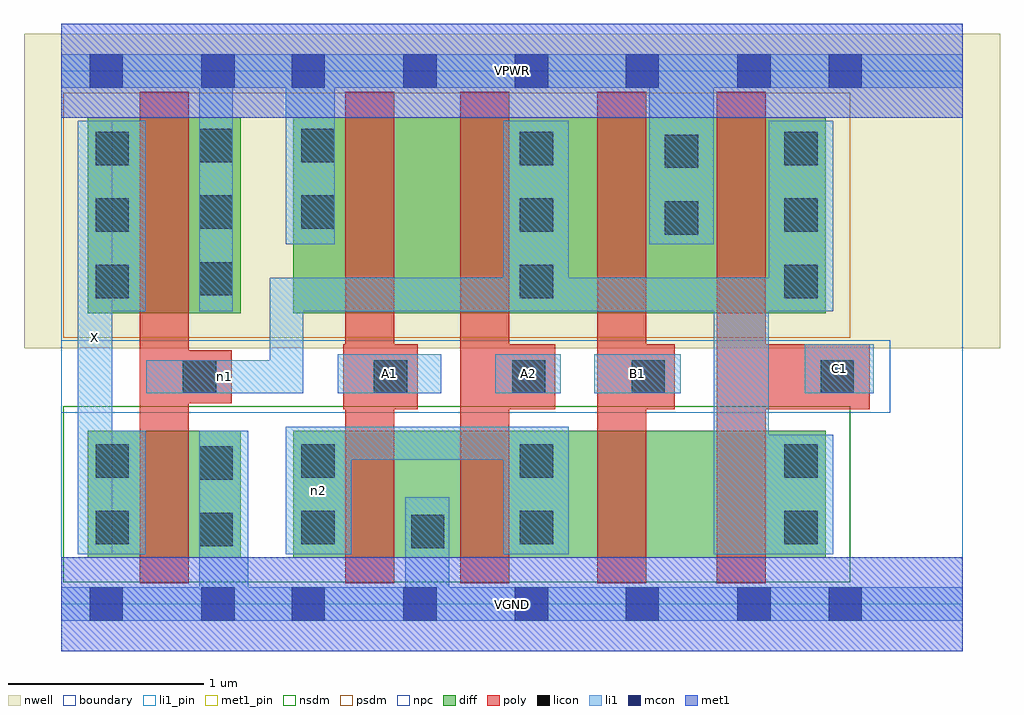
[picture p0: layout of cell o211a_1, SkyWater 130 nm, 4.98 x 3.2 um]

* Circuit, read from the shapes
.subckt o211a_1 A1 A2 B1 C1 VGND VPWR X n1 n2
XM1 VGND n1 X VSUBS sky130_fd_pr__nfet_01v8 w=0.65 l=0.25
XM2 VGND A1 n2 VSUBS sky130_fd_pr__nfet_01v8 w=0.65 l=0.25
XM3 n2 A2 VGND VSUBS sky130_fd_pr__nfet_01v8 w=0.65 l=0.25
XM4 n3 B1 n2 VSUBS sky130_fd_pr__nfet_01v8 w=0.65 l=0.25
XM5 n1 C1 n3 VSUBS sky130_fd_pr__nfet_01v8 w=0.65 l=0.25
XM6 VPWR n1 X n4 sky130_fd_pr__pfet_01v8 w=1 l=0.25
XM7 n5 A1 VPWR n4 sky130_fd_pr__pfet_01v8 w=1 l=0.25
XM8 n1 A2 n5 n4 sky130_fd_pr__pfet_01v8 w=1 l=0.25
XM9 VPWR B1 n1 n4 sky130_fd_pr__pfet_01v8 w=1 l=0.25
XM10 n1 C1 VPWR n4 sky130_fd_pr__pfet_01v8 w=1 l=0.25
.ends

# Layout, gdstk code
import gdstk
lib = gdstk.Library(unit=1e-6, precision=1e-09)
def R(c, l, rs):  # rectangles x0, y0, x1, y1
    for r in rs: c.add(gdstk.rectangle(r[:2], r[2:], *l))
def A(c, l, x, y, w, h, nx, ny, dx, dy):  # array of equal rectangles
    R(c, l, [(x+i*dx, y+j*dy, x+i*dx+w, y+j*dy+h) for i in range(nx) for j in range(ny)])
nwell = (64, 20)
diff = (65, 20)
poly = (66, 20)
licon = (66, 44)
li1_pin = (67, 16)
li1 = (67, 20)
mcon = (67, 44)
met1_pin = (68, 16)
met1 = (68, 20)
nsdm = (93, 44)
psdm = (94, 20)
npc = (95, 20)
boundary = (235, 4)

o211a_1 = lib.new_cell('o211a_1')
R(o211a_1, nwell, [(-0.19,1.305,4.79,2.91), (0,1.305,4.6,2.91)])
R(o211a_1, diff, [(0.135,0.235,0.915,0.885), (1.185,0.235,3.9,0.885), (0.135,1.485,0.915,2.485), (1.185,1.485,3.9,2.485)])
R(o211a_1, poly, [(0.4,0.105,0.65,2.615), (1.45,0.105,1.7,2.615), (2.035,0.105,2.285,2.615), (2.735,0.105,2.985,2.615), (3.345,0.105,3.595,2.615), (1.44,0.995,1.82,1.325), (2.035,0.995,2.52,1.325), (2.735,0.995,3.13,1.325), (3.345,0.995,4.125,1.325), (0.4,1.025,0.87,1.295)])
A(o211a_1, licon, 0.175, 1.56, 0.17, 0.17, 1, 3, 0, 0.34)
A(o211a_1, licon, 2.34, 1.56, 0.17, 0.17, 1, 3, 0, 0.34)
A(o211a_1, licon, 3.69, 1.56, 0.17, 0.17, 1, 3, 0, 0.34)
A(o211a_1, licon, 0.705, 1.575, 0.17, 0.17, 1, 3, 0, 0.34)
R(o211a_1, licon, [(1.785,0.285,1.955,0.455), (0.705,0.295,0.875,0.465), (0.175,0.305,0.345,0.475), (1.225,0.305,1.395,0.475), (2.34,0.305,2.51,0.475), (3.69,0.305,3.86,0.475), (0.705,0.635,0.875,0.805), (0.175,0.645,0.345,0.815), (1.225,0.645,1.395,0.815), (2.34,0.645,2.51,0.815), (3.69,0.645,3.86,0.815), (0.62,1.075,0.79,1.245), (1.595,1.075,1.765,1.245), (2.3,1.075,2.47,1.245), (2.91,1.075,3.08,1.245), (3.875,1.075,4.045,1.245), (3.08,1.885,3.25,2.055), (1.225,1.915,1.395,2.085), (3.08,2.225,3.25,2.395), (1.225,2.255,1.395,2.425)])
R(o211a_1, li1_pin, [(0.085,0.255,0.26,2.465), (1.41,1.075,1.94,1.275), (2.215,1.075,2.55,1.275), (2.72,1.075,3.16,1.275), (3.795,1.075,4.145,1.325)])
R(o211a_1, li1, [(0,-0.085,4.6,0.085), (0.705,-0.085,0.955,0.885), (1.755,-0.085,1.98,0.545), (0.085,0.255,0.26,2.465), (0.085,0.255,0.43,0.885), (1.145,0.255,1.48,0.905), (2.255,0.255,2.59,0.905), (3.33,0.255,3.94,0.865), (3.33,0.255,3.61,1.665), (1.145,0.735,2.59,0.905), (0.435,1.075,1.235,1.245), (1.065,1.075,1.235,1.665), (1.41,1.075,1.94,1.275), (2.215,1.075,2.55,1.275), (2.72,1.075,3.16,1.275), (3.795,1.075,4.145,1.325), (0.085,1.495,0.43,2.465), (0.705,1.495,0.875,2.805), (1.065,1.495,3.94,1.665), (2.255,1.495,2.59,2.465), (3.61,1.495,3.94,2.465), (1.145,1.835,1.395,2.805), (3,1.835,3.33,2.805), (0,2.635,4.6,2.805)])
A(o211a_1, mcon, 1.175, -0.085, 0.17, 0.17, 3, 2, 0.57, 2.72)
R(o211a_1, mcon, [(0.145,-0.085,0.315,0.085), (0.715,-0.085,0.885,0.085), (2.88,-0.085,3.05,0.085), (3.45,-0.085,3.62,0.085), (3.915,-0.085,4.085,0.085), (0.145,2.635,0.315,2.805), (0.715,2.635,0.885,2.805), (2.88,2.635,3.05,2.805), (3.45,2.635,3.62,2.805), (3.915,2.635,4.085,2.805)])
R(o211a_1, met1_pin, [(0,-0.24,4.6,0.24), (0,2.48,4.6,2.96)])
R(o211a_1, met1, [(0,-0.24,4.6,0.24), (0,2.48,4.6,2.96)])
R(o211a_1, nsdm, [(0.01,0.11,4.025,1.01)])
R(o211a_1, psdm, [(0.01,1.36,4.025,2.61)])
R(o211a_1, npc, [(0,0.975,4.23,1.345)])
R(o211a_1, boundary, [(0,0,4.6,2.72)])
o211a_1.add(gdstk.Label('A1', (1.675,1.175), layer=67, texttype=5))
o211a_1.add(gdstk.Label('A2', (2.382,1.175), layer=67, texttype=5))
o211a_1.add(gdstk.Label('B1', (2.94,1.175), layer=67, texttype=5))
o211a_1.add(gdstk.Label('C1', (3.97,1.2), layer=67, texttype=5))
o211a_1.add(gdstk.Label('X', (0.172,1.36), layer=67, texttype=5))
o211a_1.add(gdstk.Label('n2', (1.312,0.58), layer=67, texttype=5))
o211a_1.add(gdstk.Label('n1', (0.835,1.16), layer=67, texttype=5))
o211a_1.add(gdstk.Label('VPWR', (2.3,2.72), layer=68, texttype=5))
o211a_1.add(gdstk.Label('VGND', (2.3,0), layer=68, texttype=5))
o211a_1.add(gdstk.Label('A1', (1.675,1.175), layer=67, texttype=16))
o211a_1.add(gdstk.Label('A2', (2.382,1.175), layer=67, texttype=16))
o211a_1.add(gdstk.Label('B1', (2.94,1.175), layer=67, texttype=16))
o211a_1.add(gdstk.Label('C1', (3.97,1.2), layer=67, texttype=16))
o211a_1.add(gdstk.Label('X', (0.172,1.36), layer=67, texttype=16))
o211a_1.add(gdstk.Label('VPWR', (2.3,2.72), layer=68, texttype=16))
o211a_1.add(gdstk.Label('VGND', (2.3,0), layer=68, texttype=16))

lib.write_gds('o211a_1.gds')
